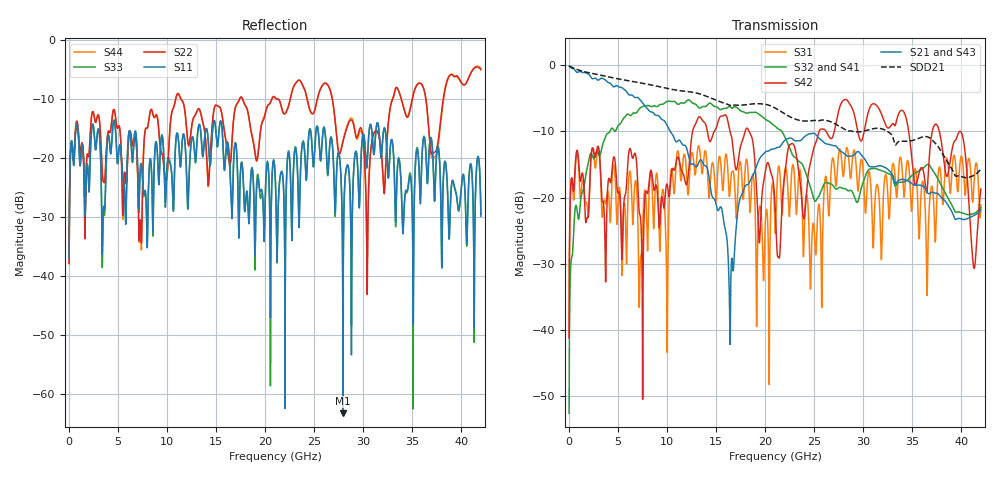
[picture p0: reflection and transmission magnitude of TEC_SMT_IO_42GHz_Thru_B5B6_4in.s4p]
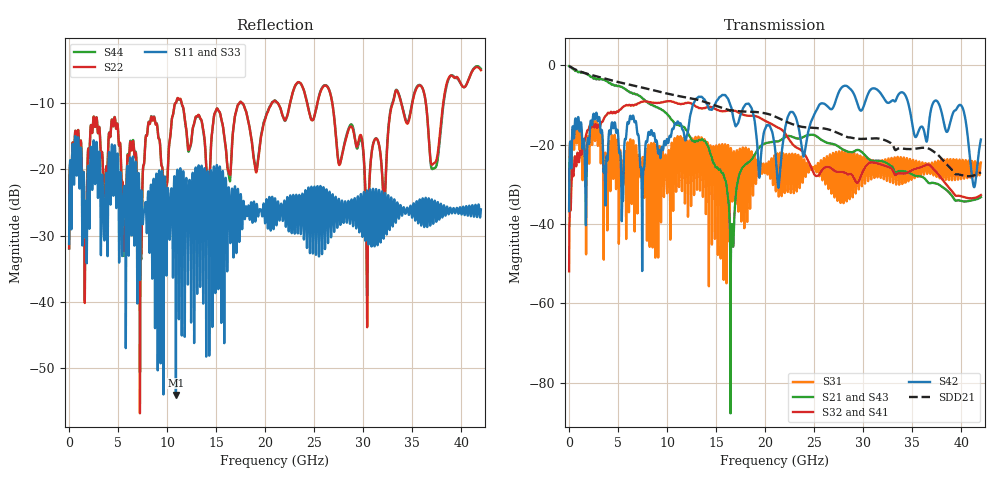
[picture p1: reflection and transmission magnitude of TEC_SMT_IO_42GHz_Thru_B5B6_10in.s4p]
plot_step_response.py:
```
import skrf as rf
import matplotlib.pyplot as plt
import numpy as np

files = {
    "4-inch": "TEC_SMT_IO_42GHz_Thru_B5B6_4in.s4p",
    "10-inch": "TEC_SMT_IO_42GHz_Thru_B5B6_10in.s4p"
}

plt.figure(figsize=(12, 7))

for label, f in files.items():
    try:
        net = rf.Network(f)
    except Exception as e:
        print(f"Error Loading {f}: {e}")
        continue
    
    #port reordering 
    net.renumber(from_ports=[0, 2, 1, 3], to_ports=[0, 1, 2, 3])

    #mixed mode/differential conversion
    net.se2gmm(p=2)
    net.renormalize(100) #doesn't change anything but I note it anyways
    
    #sdd21 calculation
    sdd21 = net.s[:, 1, 0] 
    
    #convert to one port for skrf functions
    net_sdd21 = rf.Network(frequency=net.frequency, s=sdd21)
    
    #extrapolation to DC
    net_dc = net_sdd21.extrapolate_to_dc(kind='linear', dc_sparam=1.0)
    
    #step responsee calculation
    t, step = net_dc.step_response(window='hamming', pad=2000)

    #plot
    plt.plot(t * 1e9, step, label=f"{label} Thru", linewidth=2)

plt.title("Differential Step Response")
plt.xlabel("Time (ns)")
plt.ylabel("Voltage (Normalized)")
plt.axhline(1.0, color='r', linestyle='--', alpha=0.3, label="Ideal Thru")
plt.ylim(-0.1, 1.2)
plt.legend()
plt.grid(True)
plt.show()
```
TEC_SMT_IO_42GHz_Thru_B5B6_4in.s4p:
!! CHANNEL DESCRIPTION: Next Generation 28Gbps High Density SMT I/O Connector
!!  with 4" 5-6-5 Megatron 6 Stripline trace on host side and 1.25" 7-5-7 Megtron 6 Microstrip trace on plug side at 14GHz
!! HOST PCB DESCRIPTION: PCB thickness 2.86 mm, Nelco 4000-13SI (Dk 3.32, Df 0.010)
!!  23 Layer Board, 12 GND planes, 2 Layer route-out on Layers 10,12, 8 mil stub on vias
!!  Pairs on following layers
!!  Layer 12 - B5B6
!! CONNECTOR DESCRIPTION:  Next Generation 28Gbps High Density SMT I/O Connector
!! PLUG-IN CARD DESCRIPTION:  PCB thickness 1mm thick, Nelco 4000-13SI (Dk 3.32, Df 0.010)
!!  6 Layer Board, 4 GND planes, 0.35 x 1.4mm mating pads
!!  Micro-strip diff traces referenced to GND plane 3mils down, 2nd GND plane 15mils from top of board
!!  PCB GND planes are symmetric
!! MODEL DESCRIPTION: TE Connectivity S-parameter model produced from Macro-model
!! MODEL DATE: 9/25/2014 CR1a_GC1i, VR6&12_4
!! MODEL STATUS: Developmental
!! MODEL GEOMETRY: 2 Rows - Rows A, B. 3 pairs in each row, 6 total pairs
!! MODEL FREQUENCY RANGE: DC to 42 GHz in 10 MHz frequency steps
!! MODEL EDGE RATE LIMITATION: 11.90 ps (Using conservative 0.5/Fmax rule of thumb)
!! TIME-DOMAIN TRANSFORM CAUTIONS:
!! 1.) Do not simulate transient edge rates faster than the number listed above.  Edge
!!  rates faster than this number contain significant spectral content at frequencies
!!  above the model's highest frequency.
!! 2.) Even when simulating edge rates that are slower than the number listed above, be
!!  aware that the best time resolution possible with a direct iFFT is (1 / 2Fmax).
!!  As a result, time resolution is typically not adequate for most time-domain
!!  simulations unless tricks such as frequency-domain zero-padding and windowing are
!!  used to minimize leakage and aliasing.
!! 3.) Because the model has a uniform frequency step, a direct iFFT will result in an
!!  impulse that that has a time length given by either (1 / Fstep) or (1 / 2Fstep),
!!  depending on the transform being used.  Care has been taken in selecting the
!!  frequency step to ensure a settled impulse response for the model.  Therefore,
!!  convolution with the model's impulse response should present no issues.  However,
!!  if directly concatenating s-parameter models in the frequency domain a user must
!!  either interpolate necessary interim frequencies or complete impulse response
!!  zero-padding.  Impulse response zero-padding is more difficult, but more accurate.
!! PORT DEFINITIONS:
!! Port  1  ----->  Host, Bot Row  B5  B5  Module, Top Row  <-----  Port  2
!! Port  3  ----->  Host, Bot Row  B6  B6  Module, Top Row  <-----  Port  4
# Hz S MA R 50
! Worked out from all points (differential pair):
!   4200 points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, 10 MHz to 42 GHz, reference 50 ohm
!   strongest paths, dB at 10 MHz, 10.51 GHz, 21.01 GHz, 31.51 GHz, 42 GHz:
!     S21: -0.1, -10.4, -12.6, -15.2, -21.8
!     S42: -41.1, -15.7, -21.2, -6.3, -18.7
!     S43: -0.1, -10.4, -12.6, -15.2, -21.8
!     S32: -52.6, -5.5, -9.2, -15.7, -21.5
!     S41: -52.6, -5.5, -9.1, -15.7, -21.4
!     S31: -41.2, -15.9, -24.8, -18.4, -21.1
!   taken as a pair (ports 1,3 in; 2,4 out), SDD21 dB: -0.1, -3.6, -6.4, -9.5, -15.6
!   lowest |S11| = -63.2 dB at 27.93 GHz (marker M1), VSWR 1.00, Z = 49.9 + j0.0392 ohm
!   |S11| at or under -10 dB: start of sweep to end of sweep
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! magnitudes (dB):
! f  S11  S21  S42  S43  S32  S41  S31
! 10 MHz  -36.9  -0.1  -41.1  -0.1  -52.6  -52.6  -41.2
! 27.93 GHz  -63.2  -13.2  -5.4  -13.3  -18.6  -18.6  -16.6
! 42 GHz  -29.8  -21.8  -18.7  -21.8  -21.5  -21.4  -21.1
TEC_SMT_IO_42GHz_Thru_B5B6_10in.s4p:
!! CHANNEL DESCRIPTION: Next Generation 28Gbps High Density SMT I/O Connector
!!  with 10" 5-6-5 Megatron 6 Stripline trace on host side and 1.25" 7-5-7 Megtron 6 Microstrip trace on plug side at 14GHz
!! HOST PCB DESCRIPTION: PCB thickness 2.86 mm, Nelco 4000-13SI (Dk 3.32, Df 0.010)
!!  23 Layer Board, 12 GND planes, 2 Layer route-out on Layers 10,12, 8 mil stub on vias
!!  Pairs on following layers
!!  Layer 12 - B5B6
!! CONNECTOR DESCRIPTION:  Next Generation 28Gbps High Density SMT I/O Connector
!! PLUG-IN CARD DESCRIPTION:  PCB thickness 1mm thick, Nelco 4000-13SI (Dk 3.32, Df 0.010)
!!  6 Layer Board, 4 GND planes, 0.35 x 1.4mm mating pads
!!  Micro-strip diff traces referenced to GND plane 3mils down, 2nd GND plane 15mils from top of board
!!  PCB GND planes are symmetric
!! MODEL DESCRIPTION: TE Connectivity S-parameter model produced from Macro-model
!! MODEL DATE: 9/25/2014 CR1a_GC1i, VR6&12_4
!! MODEL STATUS: Developmental
!! MODEL GEOMETRY: 2 Rows - Rows A, B. 3 pairs in each row, 6 total pairs
!! MODEL FREQUENCY RANGE: DC to 42 GHz in 10 MHz frequency steps
!! MODEL EDGE RATE LIMITATION: 11.90 ps (Using conservative 0.5/Fmax rule of thumb)
!! TIME-DOMAIN TRANSFORM CAUTIONS:
!! 1.) Do not simulate transient edge rates faster than the number listed above.  Edge
!!  rates faster than this number contain significant spectral content at frequencies
!!  above the model's highest frequency.
!! 2.) Even when simulating edge rates that are slower than the number listed above, be
!!  aware that the best time resolution possible with a direct iFFT is (1 / 2Fmax).
!!  As a result, time resolution is typically not adequate for most time-domain
!!  simulations unless tricks such as frequency-domain zero-padding and windowing are
!!  used to minimize leakage and aliasing.
!! 3.) Because the model has a uniform frequency step, a direct iFFT will result in an
!!  impulse that that has a time length given by either (1 / Fstep) or (1 / 2Fstep),
!!  depending on the transform being used.  Care has been taken in selecting the
!!  frequency step to ensure a settled impulse response for the model.  Therefore,
!!  convolution with the model's impulse response should present no issues.  However,
!!  if directly concatenating s-parameter models in the frequency domain a user must
!!  either interpolate necessary interim frequencies or complete impulse response
!!  zero-padding.  Impulse response zero-padding is more difficult, but more accurate.
!! PORT DEFINITIONS:
!! Port  1  ----->  Host, Bot Row  B5  B5  Module, Top Row  <-----  Port  2
!! Port  3  ----->  Host, Bot Row  B6  B6  Module, Top Row  <-----  Port  4
# Hz S MA R 50
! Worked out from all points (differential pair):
!   4200 points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, 10 MHz to 42 GHz, reference 50 ohm
!   strongest paths, dB at 10 MHz, 10.51 GHz, 21.01 GHz, 31.51 GHz, 42 GHz:
!     S42: -36.7, -16.2, -21.0, -6.3, -18.7
!     S32: -51.9, -9.2, -15.3, -24.8, -32.7
!     S41: -51.9, -9.2, -15.3, -24.7, -32.6
!     S21: -0.2, -13.8, -19.2, -24.0, -33.2
!     S43: -0.2, -13.8, -19.3, -24.0, -33.2
!     S31: -36.8, -19.9, -24.4, -26.9, -24.5
!   taken as a pair (ports 1,3 in; 2,4 out), SDD21 dB: -0.2, -7.4, -12.9, -18.4, -26.9
!   lowest |S11| = -54.0 dB at 10.9 GHz (marker M1), VSWR 1.00, Z = 50 + j0.198 ohm
!   |S11| at or under -10 dB: start of sweep to end of sweep
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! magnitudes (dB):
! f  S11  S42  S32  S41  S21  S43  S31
! 10 MHz  -31.3  -36.7  -51.9  -51.9  -0.2  -0.2  -36.8
! 10.9 GHz  -54.0  -14.8  -9.4  -9.4  -14.7  -14.7  -28.6
! 42 GHz  -26.1  -18.7  -32.7  -32.6  -33.2  -33.2  -24.5
